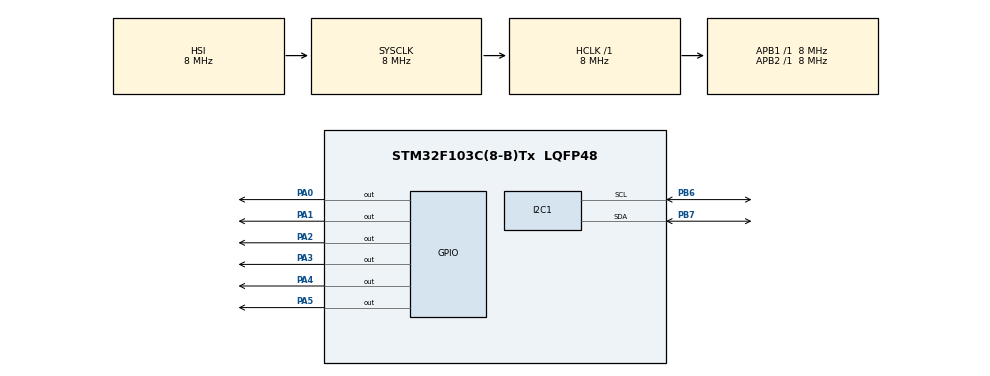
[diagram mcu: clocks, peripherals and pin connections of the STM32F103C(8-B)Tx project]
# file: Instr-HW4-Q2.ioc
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Mcu.Family=STM32F1
Mcu.Name=STM32F103C(8-B)Tx
Mcu.Package=LQFP48
NVIC.PriorityGroup=NVIC_PRIORITYGROUP_4
PA0-WKUP.Signal=GPIO_Output
PA1.Signal=GPIO_Output
PA2.Signal=GPIO_Output
PA3.Signal=GPIO_Output
PA4.Signal=GPIO_Output
PA5.Signal=GPIO_Output
PB6.Mode=I2C
PB6.Signal=I2C1_SCL
PB7.Mode=I2C
PB7.Signal=I2C1_SDA
ProjectManager.HeapSize=0x200
ProjectManager.StackSize=0x400
ProjectManager.TargetToolchain=STM32CubeIDE
RCC.AHBFreq_Value=8000000
RCC.APB1Freq_Value=8000000
RCC.APB1TimFreq_Value=8000000
RCC.APB2Freq_Value=8000000
RCC.APB2TimFreq_Value=8000000
RCC.HCLKFreq_Value=8000000
RCC.SYSCLKFreq_VALUE=8000000
RCC.USBFreq_Value=8000000
VP_SYS_VS_ND.Mode=No_Debug
board=custom

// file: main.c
/* USER CODE BEGIN Header */
/**
  ******************************************************************************
  * @file           : main.c
  * @brief          : Main program body
  ******************************************************************************
  * @attention
  *
  * Copyright (c) 2026 STMicroelectronics.
  * All rights reserved.
  *
  * This software is licensed under terms that can be found in the LICENSE file
  * in the root directory of this software component.
  * If no LICENSE file comes with this software, it is provided AS-IS.
  *
  ******************************************************************************
  */
/* USER CODE END Header */
#include "main.h"

/* USER CODE BEGIN Includes */
#include "lcd.h"
#include <stdio.h>
/* USER CODE END Includes */

I2C_HandleTypeDef hi2c1;

/* USER CODE BEGIN PV */
Lcd_PortType port[] = {GPIOA, GPIOA, GPIOA, GPIOA};
Lcd_PinType pin[] = {GPIO_PIN_0, GPIO_PIN_1, GPIO_PIN_2, GPIO_PIN_3};
Lcd_PortType rs_port = GPIOA;
Lcd_PinType rs_pin = GPIO_PIN_4;
Lcd_PortType e_port = GPIOA;
Lcd_PinType e_pin = GPIO_PIN_5;
Lcd_HandleTypeDef lcd;

uint8_t temp_data[2];
int16_t raw_temp;
float temperature;
char display_str[16];
/* USER CODE END PV */

void SystemClock_Config(void);
static void MX_GPIO_Init(void);
static void MX_I2C1_Init(void);

int main(void)
{

  /* MCU Configuration--------------------------------------------------------*/

  /* Reset of all peripherals, Initializes the Flash interface and the Systick. */
  HAL_Init();

  /* Configure the system clock */
  SystemClock_Config();

  /* Initialize all configured peripherals */
  MX_GPIO_Init();
  MX_I2C1_Init();
  /* USER CODE BEGIN 2 */
  lcd = Lcd_create(port, pin, rs_port, rs_pin, e_port, e_pin, LCD_4_BIT_MODE);
  Lcd_clear(&lcd);
  /* USER CODE END 2 */

  /* Infinite loop */
  while (1)
  {

    /* USER CODE BEGIN 3 */
    if(HAL_I2C_Mem_Read(&hi2c1, 0x90, 0x00, I2C_MEMADD_SIZE_8BIT, temp_data, 2, 100) == HAL_OK) {
      raw_temp = (temp_data[0] << 8) | temp_data[1];
      raw_temp = raw_temp >> 7;
      temperature = raw_temp * 0.5;

      sprintf(display_str, "Temp: %.1f C   ", temperature);
      Lcd_cursor(&lcd, 0, 0);
      Lcd_string(&lcd, display_str);
    } else {
      Lcd_cursor(&lcd, 0, 0);
      Lcd_string(&lcd, "Sensor Error!   ");
    }

    HAL_Delay(500);
  }
  /* USER CODE END 3 */
}

void SystemClock_Config(void)
{
  RCC_OscInitTypeDef RCC_OscInitStruct = {0};
  RCC_ClkInitTypeDef RCC_ClkInitStruct = {0};

  /** Initializes the RCC Oscillators according to the specified parameters
  * in the RCC_OscInitTypeDef structure.
  */
  RCC_OscInitStruct.OscillatorType = RCC_OSCILLATORTYPE_HSI;
  RCC_OscInitStruct.HSIState = RCC_HSI_ON;
  RCC_OscInitStruct.HSICalibrationValue = RCC_HSICALIBRATION_DEFAULT;
  RCC_OscInitStruct.PLL.PLLState = RCC_PLL_NONE;
  if (HAL_RCC_OscConfig(&RCC_OscInitStruct) != HAL_OK)
  {
    Error_Handler();
  }

  /** Initializes the CPU, AHB and APB buses clocks
  */
  RCC_ClkInitStruct.ClockType = RCC_CLOCKTYPE_HCLK|RCC_CLOCKTYPE_SYSCLK
                              |RCC_CLOCKTYPE_PCLK1|RCC_CLOCKTYPE_PCLK2;
  RCC_ClkInitStruct.SYSCLKSource = RCC_SYSCLKSOURCE_HSI;
  RCC_ClkInitStruct.AHBCLKDivider = RCC_SYSCLK_DIV1;
  RCC_ClkInitStruct.APB1CLKDivider = RCC_HCLK_DIV1;
  RCC_ClkInitStruct.APB2CLKDivider = RCC_HCLK_DIV1;

  if (HAL_RCC_ClockConfig(&RCC_ClkInitStruct, FLASH_LATENCY_0) != HAL_OK)
  {
    Error_Handler();
  }
}

static void MX_I2C1_Init(void)
{

  hi2c1.Instance = I2C1;
  hi2c1.Init.ClockSpeed = 100000;
  hi2c1.Init.DutyCycle = I2C_DUTYCYCLE_2;
  hi2c1.Init.OwnAddress1 = 0;
  hi2c1.Init.AddressingMode = I2C_ADDRESSINGMODE_7BIT;
  hi2c1.Init.DualAddressMode = I2C_DUALADDRESS_DISABLE;
  hi2c1.Init.OwnAddress2 = 0;
  hi2c1.Init.GeneralCallMode = I2C_GENERALCALL_DISABLE;
  hi2c1.Init.NoStretchMode = I2C_NOSTRETCH_DISABLE;
  if (HAL_I2C_Init(&hi2c1) != HAL_OK)
  {
    Error_Handler();
  }

}

static void MX_GPIO_Init(void)
{
  GPIO_InitTypeDef GPIO_InitStruct = {0};

  /* GPIO Ports Clock Enable */
  __HAL_RCC_GPIOA_CLK_ENABLE();
  __HAL_RCC_GPIOB_CLK_ENABLE();

  /*Configure GPIO pin Output Level */
  HAL_GPIO_WritePin(GPIOA, GPIO_PIN_0|GPIO_PIN_1|GPIO_PIN_2|GPIO_PIN_3
                          |GPIO_PIN_4|GPIO_PIN_5, GPIO_PIN_RESET);

  /*Configure GPIO pins : PA0 PA1 PA2 PA3
                           PA4 PA5 */
  GPIO_InitStruct.Pin = GPIO_PIN_0|GPIO_PIN_1|GPIO_PIN_2|GPIO_PIN_3
                          |GPIO_PIN_4|GPIO_PIN_5;
  GPIO_InitStruct.Mode = GPIO_MODE_OUTPUT_PP;
  GPIO_InitStruct.Pull = GPIO_NOPULL;
  GPIO_InitStruct.Speed = GPIO_SPEED_FREQ_LOW;
  HAL_GPIO_Init(GPIOA, &GPIO_InitStruct);

}

void Error_Handler(void)
{
  __disable_irq();
  while (1)
  {
  }
}
